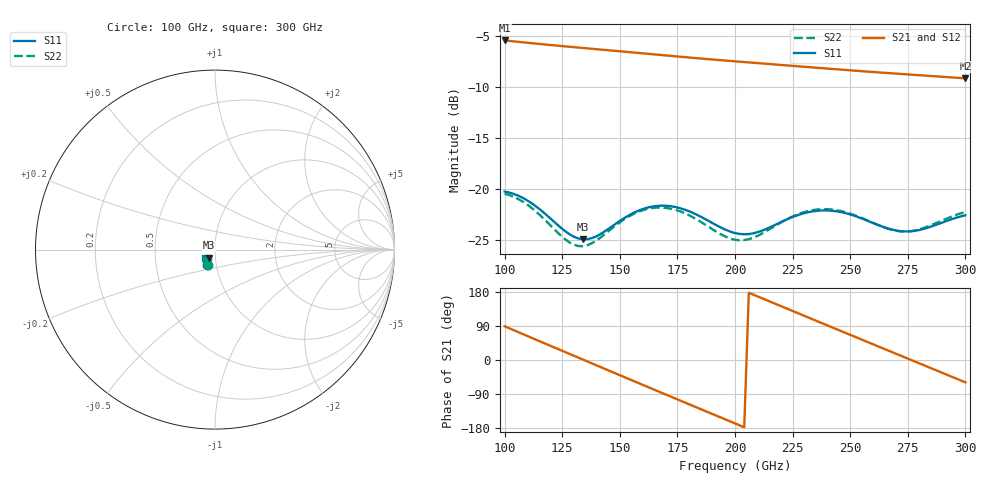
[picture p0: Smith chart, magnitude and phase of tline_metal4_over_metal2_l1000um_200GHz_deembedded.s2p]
! Created with skrf 2.2.0 (http://scikit-rf.org).
# GHz S DB R 50.0
! Port[1] = P1
! Port[2] = P2
!freq dBS11 angS11 dBS21 angS21 dBS12 angS12 dBS22 angS22
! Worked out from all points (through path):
!   101 points, 100 GHz to 300 GHz, reference 50 ohm
!   highest |S21| = -5.41 dB at 100 GHz (marker M1); lowest = -9.1 dB at 300 GHz (marker M2)
!   group delay of S21, straight-line fit = 7.05 ps
!   lowest |S11| = -25.0 dB at 134 GHz (marker M3), VSWR 1.12, Z = 46.6 - j4.27 ohm
!   |S11| at or under -10 dB: start of sweep to end of sweep
!   |S22| runs from -25.6 to -20.5 dB; largest |S21 - S12| = 8e-14
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100  -20.26 -116.6  -5.41 89.0  -5.41 89.0  -20.48 -115.3
108  -20.90 -126.8  -5.60 68.2  -5.60 68.2  -21.27 -125.6
118  -22.53 -134.8  -5.82 42.3  -5.82 42.3  -23.15 -133.1
126  -24.11 -134.0  -5.99 21.7  -5.99 21.7  -24.90 -130.6
134  -24.96 -126.0  -6.15 1.1  -6.15 1.1  -25.63 -120.2
142  -24.39 -118.0  -6.31 -19.5  -6.31 -19.5  -24.71 -111.6
152  -22.86 -117.2  -6.52 -45.2  -6.52 -45.2  -22.97 -112.2
160  -21.98 -122.3  -6.68 -65.7  -6.68 -65.7  -22.09 -118.4
168  -21.65 -129.5  -6.84 -86.1  -6.84 -86.1  -21.83 -126.3
182  -22.39 -140.5  -7.13 -121.7  -7.13 -121.7  -22.82 -137.6
192  -23.58 -142.6  -7.32 -147.1  -7.32 -147.1  -24.22 -138.5
200  -24.34 -139.0  -7.46 -167.4  -7.46 -167.4  -25.00 -133.0
208  -24.36 -133.2  -7.61 172.4  -7.61 172.4  -24.79 -125.5
216  -23.69 -129.6  -7.75 152.1  -7.75 152.1  -23.83 -122.0
226  -22.68 -131.1  -7.93 126.9  -7.93 126.9  -22.61 -124.4
234  -22.20 -135.4  -8.07 106.7  -8.07 106.7  -22.08 -129.6
242  -22.15 -140.6  -8.21 86.5  -8.21 86.5  -22.03 -135.4
250  -22.51 -145.0  -8.35 66.4  -8.35 66.4  -22.43 -140.3
260  -23.36 -147.1  -8.51 41.3  -8.51 41.3  -23.35 -142.5
268  -23.99 -145.0  -8.64 21.3  -8.64 21.3  -24.02 -139.9
284  -23.79 -137.0  -8.89 -18.9  -8.89 -18.9  -23.67 -130.9
300  -22.59 -138.4  -9.14 -59.0  -9.14 -59.0  -22.26 -132.7
